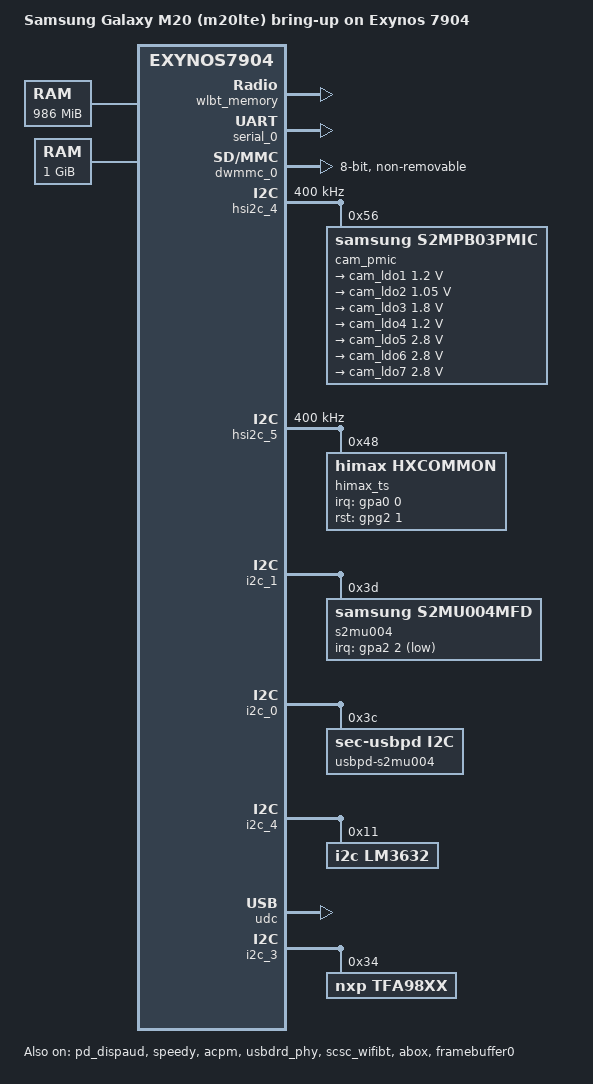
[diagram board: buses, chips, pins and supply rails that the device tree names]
// SPDX-License-Identifier: GPL-2.0
/*
 * Samsung Galaxy M20 (SM-M205F/FN, m20lte) minimal bring-up device tree.
 *
 * Experimental: console, GIC, timer and UART with vendor-derived clocks and
 * pinctrl. eMMC uses firmware CMU rates and vendor SDR timings; HS200/HS400
 * and hardware encryption are not enabled. CP interfaces are described but disabled by default.
 */

/dts-v1/;
#include "exynos7904.dtsi"
#include "battery_data_m20lte_common.dtsi"
#include "exynos7904-m20lte-modem.dtsi"

/ {
	model = "Samsung Galaxy M20 (m20lte) bring-up on Exynos 7904";
	/* Stock sboot strings first, then our own. */
	compatible = "samsung, M20 SWA OPEN rev03", "samsung,Universal7904", "samsung,m20lte", "samsung,exynos7904";

	/*
	 * Samsung dtbhtool reads these root properties to pick the right DTB.
	 * Values copied from the 4.4 M20 board DTS (SWA OPEN rev03).
	 */
	model_info-chip = <7885>;
	model_info-platform = "android";
	model_info-subtype = "samsung";
	model_info-hw_rev = <4>;
	model_info-hw_rev_end = <255>;

	chosen {
		stdout-path = "serial0:115200n8";
		/*
		 * The stock DTB carries its bootargs in chosen (it ships no boot.img cmdline),
		 * so keep the same arguments here in case the bootloader does not inject
		 * the boot.img cmdline into the DTB.
		 */
		/*
		 * Same placeholder as the stock DTB. The stock ramdisk is 1.46 MB, larger than
		 * this 1 MB window, so sboot must rewrite these at boot. Verify on device.
		 */
		linux,initrd-start = <0x84000000>;
		linux,initrd-end = <0x840fffff>;
		bootargs = "console=tty0 console=ttySAC0,115200 earlycon=exynos4210,0x13800000 clk_ignore_unused regulator_ignore_unused androidboot.hardware=samsungexynos7885 androidboot.selinux=permissive panic=5";
	};

	/*
	 * RAM layout copied from the 4.4 m20lte DTS (exynos7904-m20lte_common.dtsi).
	 * Verify against the bootloader before trusting it.
	 */
	memory@80000000 {
		device_type = "memory";
		reg = <0x0 0x80000000 0x0 0x3da00000>;
	};

	memory@c0000000 {
		device_type = "memory";
		reg = <0x0 0xc0000000 0x0 0x40000000>;
	};

	reserved-memory {
		#address-cells = <2>;
		#size-cells = <2>;
		ranges;

		wlbt_memory: wifi@e9000000 {
			compatible = "exynos,wifibt_if";
			reg = <0 0xe9000000 0 0x400000>;
			no-map;
		};

		/* Dynamically allocated, as in exynos7885-rmem.dtsi. */
		btabox_memory: btabox {
			compatible = "exynos,btabox_rmem";
			size = <0 0x400000>;
			alignment = <0 0x400000>;
			alloc-ranges = <0 0x80000000 0 0x80000000>;
			no-map;
		};

		/*
		 * Display handover buffer used by the 4.4 DPU driver (exynos,dpu_fb_handover).
		 * Kept no-map so the kernel never reuses the splash image.
		 */
		fb_handover: framebuffer@ec000000 {
			reg = <0x0 0xec000000 0x0 0x1400000>;
			no-map;
		};

		/*
		 * exynos-snapshot (ESS) area, from the 4.4 tree (drivers/trace/exynos-ss.c).
		 * Base 0x86000000 comes from the 4.4 bootarg ess_setup=0x86000000.
		 * Items are laid out in table order (MINIMIZED_MODE + SMALL_DEBUG_MODE):
		 *   log_kevents header 2 MB at 0x86000000 (kevents 1 MB, header alloc 2 MB)
		 *   log_kernel 2 MB at 0x86200000
		 *   log_pstore 32 KB at 0x86400000
		 * Keep the log area no-map so nothing else writes into it.
		 */
		ess_log: ess-log@86000000 {
			reg = <0x0 0x86000000 0x0 0x400000>;
			no-map;
		};

		ess_pstore: ess-pstore@86400000 {
			reg = <0x0 0x86400000 0x0 0x8000>;
			no-map;
		};
	};

	/* pstore: panics and oopses land in ess_pstore; readable from /sys/fs/pstore. */
	ramoops {
		compatible = "ramoops";
		memory-region = <&ess_pstore>;
		record-size = <0x4000>;
		console-size = <0x2000>;
		pmsg-size = <0x2000>;
		ftrace-size = <0>;
		dump-oops;
	};

	/* Bootloader-provided framebuffer: panel 1080x2340, 32 bpp, single buffer. */
	framebuffer0: framebuffer@ec000000 {
		compatible = "simple-framebuffer";
		reg = <0x0 0xec000000 0x0 0x1400000>;
		width = <1080>;
		height = <2340>;
		stride = <4320>;
		format = "a8b8g8r8";
		status = "okay";
	};
};

/* The complete DISPAUD provider retains the splash without any consumers. */
&pd_dispaud {
	status = "okay";
};

&serial_0 {
	status = "okay";
};

&dwmmc_0 {
	status = "okay";
	bus-width = <8>;
	non-removable;
	cap-mmc-highspeed;
	/* 4.4 ciu_clkin[MMC_TIMING_MMC_HS] = 50 MHz. */
	max-frequency = <50000000>;
	fifo-depth = <0x40>;
	card-detect-delay = <200>;
	samsung,dw-mshc-ciu-div = <3>;
	/* Vendor order: divider, fine drive, drive, sample (not upstream's 2). */
	samsung,dw-mshc-sdr-timing = <3 0 4 0>;
	samsung,dw-mshc-ddr-timing = <3 0 4 2>;

	/*
	 * 4.4 also advertises HS200/HS400/ES. Deliberately keep those and DDR
	 * off until rate changes, fine tuning and delay-line setup are ported.
	 */
	pinctrl-names = "default";
	pinctrl-0 = <&sd0_clk &sd0_cmd &sd0_rdqs &sd0_bus8>;
};

/*
 * The PMIC is on SPEEDY, not HSI2C. Keep disabled until SPEEDY/ACPM,
 * GATE_SPEEDY_APM and ALIVE pinctrl/IRQ support are available. Vendor
 * code uses gpa2-0 as a level-low IRQ via s2mpu08,irq-gpio; the legacy
 * interrupts = <2 0 0> property is not the IRQ used by that driver.
 * Do not invent a GIC IRQ or use an unrelated GPIO bank in its place.
 */
&speedy {
	s2mpu08: pmic@0 {
		compatible = "samsung,s2mpu08-pmic", "samsung,s2mpu08mfd";
		reg = <0x00>;
		i2c-speedy-address;
		acpm-ipc-channel = <2>;
		s2mpu08,irq-gpio = <&gpa2 0 0>;
		wakeup-source;
		/* RTC WTSR/SMPL: 4.4 exynos7904-m20lte_common.dtsi lines 183-187 */
		wtsr_en = "enabled";
		smpl_en = "enabled";
		wtsr_timer_val = <3>;
		smpl_timer_val = <0>;
		check_jigon = <0>;
		status = "okay";

		regulators {
			b1_reg: BUCK1 {
				regulator-name = "vdd_mif";
				regulator-min-microvolt = <500000>;
				regulator-max-microvolt = <1100000>;
				regulator-always-on;
				regulator-ramp-delay = <12000>;
				regulator-initial-mode = <2>;
			};

			b2_reg: BUCK2 {
				regulator-name = "vdd_cpucl0";
				regulator-min-microvolt = <500000>;
				regulator-max-microvolt = <1300000>;
				regulator-always-on;
				regulator-ramp-delay = <12000>;
				regulator-initial-mode = <1>;
			};

			b3_reg: BUCK3 {
				regulator-name = "vdd_cpucl1_2";
				regulator-min-microvolt = <500000>;
				regulator-max-microvolt = <1300000>;
				regulator-always-on;
				regulator-ramp-delay = <12000>;
				regulator-initial-mode = <1>;
			};

			b4_reg: BUCK4 {
				regulator-name = "vdd_int";
				regulator-min-microvolt = <500000>;
				regulator-max-microvolt = <1200000>;
				regulator-always-on;
				regulator-ramp-delay = <12000>;
				regulator-initial-mode = <2>;
			};

			b5_reg: BUCK5 {
				regulator-name = "vdd_g3d";
				regulator-min-microvolt = <500000>;
				regulator-max-microvolt = <1300000>;
				regulator-always-on;
				regulator-ramp-delay = <12000>;
				regulator-initial-mode = <1>;
			};

			b6_reg: BUCK6 {
				regulator-name = "vdd2_mem";
				regulator-min-microvolt = <500000>;
				regulator-max-microvolt = <1300000>;
				regulator-always-on;
				regulator-ramp-delay = <12000>;
				regulator-initial-mode = <3>;
			};

			b7_reg: BUCK7 {
				regulator-name = "vdd_lldo";
				regulator-min-microvolt = <1200000>;
				regulator-max-microvolt = <1500000>;
				regulator-always-on;
				regulator-boot-on;
				regulator-ramp-delay = <12000>;
				regulator-initial-mode = <3>;
			};

			b8_reg: BUCK8 {
				regulator-name = "vdd_mldo";
				regulator-min-microvolt = <1800000>;
				regulator-max-microvolt = <2100000>;
				regulator-always-on;
				regulator-ramp-delay = <12000>;
				regulator-initial-mode = <3>;
			};

			l1_reg: LDO1 {
				regulator-name = "vdd_ldo1";
				regulator-min-microvolt = <700000>;
				regulator-max-microvolt = <1300000>;
				regulator-always-on;
				regulator-ramp-delay = <12000>;
				regulator-initial-mode = <3>;
			};

			l2_reg: LDO2 {
				regulator-name = "vqmmc";
				regulator-min-microvolt = <1800000>;
				regulator-max-microvolt = <3375000>;
				regulator-ramp-delay = <12000>;
			};

			l3_reg: LDO3 {
				regulator-name = "vdd_ldo3";
				regulator-min-microvolt = <800000>;
				regulator-max-microvolt = <1950000>;
				regulator-always-on;
				regulator-ramp-delay = <12000>;
				regulator-initial-mode = <3>;
			};

			l4_reg: LDO4 {
				regulator-name = "vdd_ldo4";
				regulator-min-microvolt = <500000>;
				regulator-max-microvolt = <1300000>;
				regulator-always-on;
				regulator-ramp-delay = <12000>;
				regulator-initial-mode = <1>;
			};

			l5_reg: LDO5 {
				regulator-name = "vdd_ldo5";
				regulator-min-microvolt = <800000>;
				regulator-max-microvolt = <1350000>;
				regulator-always-on;
				regulator-ramp-delay = <12000>;
				regulator-initial-mode = <1>;
			};

			l6_reg: LDO6 {
				regulator-name = "vdd_ldo6";
				regulator-min-microvolt = <800000>;
				regulator-max-microvolt = <1350000>;
				regulator-always-on;
				regulator-ramp-delay = <12000>;
				regulator-initial-mode = <1>;
			};

			l7_reg: LDO7 {
				regulator-name = "vdd_ldo7";
				regulator-min-microvolt = <800000>;
				regulator-max-microvolt = <1950000>;
				regulator-always-on;
				regulator-ramp-delay = <12000>;
				regulator-initial-mode = <1>;
			};

			l8_reg: LDO8 {
				regulator-name = "vdd_ldo8";
				regulator-min-microvolt = <500000>;
				regulator-max-microvolt = <1300000>;
				regulator-always-on;
				regulator-ramp-delay = <12000>;
				regulator-initial-mode = <1>;
			};

			l9_reg: LDO9 {
				regulator-name = "vdd_ldo9";
				regulator-min-microvolt = <500000>;
				regulator-max-microvolt = <1300000>;
				regulator-always-on;
				regulator-ramp-delay = <12000>;
				regulator-initial-mode = <1>;
			};

			l10_reg: LDO10 {
				regulator-name = "vdd_ldo10";
				regulator-min-microvolt = <500000>;
				regulator-max-microvolt = <1300000>;
				regulator-always-on;
				regulator-ramp-delay = <12000>;
				regulator-initial-mode = <1>;
			};

			l11_reg: LDO11 {
				regulator-name = "vdd_ldo11";
				regulator-min-microvolt = <500000>;
				regulator-max-microvolt = <1300000>;
				regulator-always-on;
				regulator-ramp-delay = <12000>;
				regulator-initial-mode = <1>;
			};

			l12_reg: LDO12 {
				regulator-name = "vdd_ldo12";
				regulator-min-microvolt = <800000>;
				regulator-max-microvolt = <1350000>;
				regulator-always-on;
				regulator-ramp-delay = <12000>;
				regulator-initial-mode = <1>;
			};

			l13_reg: LDO13 {
				regulator-name = "vdd_ldo13";
				regulator-min-microvolt = <800000>;
				regulator-max-microvolt = <1950000>;
				regulator-always-on;
				regulator-ramp-delay = <12000>;
				regulator-initial-mode = <1>;
			};

			l14_reg: LDO14 {
				regulator-name = "vdd_ldo14";
				regulator-min-microvolt = <1800000>;
				regulator-max-microvolt = <3375000>;
				regulator-always-on;
				regulator-ramp-delay = <12000>;
				regulator-initial-mode = <1>;
			};

			l33_reg: LDO33 {
				regulator-name = "vdd_ldo33";
				regulator-min-microvolt = <800000>;
				regulator-max-microvolt = <1950000>;
				regulator-always-on;
				regulator-ramp-delay = <12000>;
				regulator-initial-mode = <3>;
			};

			l34_reg: LDO34 {
				regulator-name = "vdd_ldo34";
				regulator-min-microvolt = <1800000>;
				regulator-max-microvolt = <3375000>;
				regulator-always-on;
				regulator-ramp-delay = <12000>;
				regulator-initial-mode = <3>;
			};

			l35_reg: LDO35 {
				regulator-name = "vmmc";
				regulator-min-microvolt = <1800000>;
				regulator-max-microvolt = <3000000>;
				regulator-ramp-delay = <12000>;
			};

			l36_reg: LDO36 {
				regulator-name = "vdd_ldo36";
				regulator-min-microvolt = <800000>;
				regulator-max-microvolt = <1950000>;
				regulator-always-on;
				regulator-ramp-delay = <12000>;
				regulator-initial-mode = <3>;
			};

			l37_reg: LDO37 {
				regulator-name = "vdd_ldo37";
				regulator-min-microvolt = <1800000>;
				regulator-max-microvolt = <3375000>;
				regulator-always-on;
				regulator-ramp-delay = <12000>;
				regulator-initial-mode = <3>;
			};
		};
	};
};

/* Camera rails: 4.4 exynos7904-m20lte_common.dtsi lines 714-769. */
&hsi2c_4 {
	status = "okay";
	/* 4.4 i2c-exynos5.c:212,1623-1625 defaults to 400 kHz, not 100 kHz. */
	clock-frequency = <400000>;

	cam_pmic: pmic@56 {
		compatible = "samsung,s2mpb03pmic";
		reg = <0x56>;
		disable_ldo2_remote_sense;
		slew2,dram_dsch2 = /bits/ 8 <1>;
		slew2,l5_slew = /bits/ 8 <0>;
		slew2,l6_slew = /bits/ 8 <0>;

		/* No always-on or boot-on flags in the board source or stock DTB. */
		regulators {
			cam_ldo1: s2mpb03-ldo1 {
				regulator-name = "VDDDF_1.2V_CAM";
				regulator-min-microvolt = <1200000>;
				regulator-max-microvolt = <1200000>;
			};

			cam_ldo2: s2mpb03-ldo2 {
				regulator-name = "VDDDR1_1.05V_CAM";
				regulator-min-microvolt = <1050000>;
				regulator-max-microvolt = <1050000>;
			};

			cam_ldo3: s2mpb03-ldo3 {
				regulator-name = "VDDIOR1_1.8V_CAM";
				regulator-min-microvolt = <1800000>;
				regulator-max-microvolt = <1800000>;
			};

			cam_ldo4: s2mpb03-ldo4 {
				regulator-name = "VDDDR2_1.2V_CAM";
				regulator-min-microvolt = <1200000>;
				regulator-max-microvolt = <1200000>;
			};

			cam_ldo5: s2mpb03-ldo5 {
				regulator-name = "VDDAF_2.8V_CAM";
				regulator-min-microvolt = <2800000>;
				regulator-max-microvolt = <2800000>;
			};

			cam_ldo6: s2mpb03-ldo6 {
				regulator-name = "VDDAR1_2.8V_CAM";
				regulator-min-microvolt = <2800000>;
				regulator-max-microvolt = <2800000>;
			};

			cam_ldo7: s2mpb03-ldo7 {
				regulator-name = "VDDAR2_2.8V_CAM";
				regulator-min-microvolt = <2800000>;
				regulator-max-microvolt = <2800000>;
			};
		};
	};
};

/* Touch: Himax HX83112A on HS-I2C 5 (4.4 common.dtsi 771-800, rev03 overlay). */
&hsi2c_5 {
	status = "okay";
	clock-frequency = <400000>;

	himax_ts: touchscreen@48 {
		compatible = "himax,hxcommon";
		reg = <0x48>;
		status = "okay";
		pinctrl-names = "default";
		pinctrl-0 = <&attn_irq>;
		himax,irq-gpio = <&gpa0 0 0>;
		himax,rst-gpio = <&gpg2 1 0>;
		himax,panel-coords = <0 1080 0 2340>;
		himax,display-coords = <0 1080 0 2340>;
		himax,project_name = "M20", "M205F";
		himax,area-size = <80 126 60>;
		himax,fw-path = "tsp_himax/hx83112a_m20lte.fw";
		report_type = <1>;
		himax,factory_item_version = <1>;
	};
};

/* APM firmware IPC and the SPEEDY bus that the S2MPU08 PMIC hangs off. */
&acpm_ipc {
	status = "okay";
};

&acpm {
	status = "okay";
};

&speedy {
	status = "okay";
};

/* 4.4 exynos7904-m20lte_common.dtsi:955-966. */
&i2c_1 {
	status = "okay";
	s2mu004@3D {
		status = "okay";
		compatible = "samsung,s2mu004mfd";
		reg = <0x3D>;
		pinctrl-names = "default";
		pinctrl-0 = <&if_pmic_irq>;
		s2mu004,irq-gpio = <&gpa2 2 1>;
		s2mu004,wakeup;
	};
};

/*
 * USB-C port controller and cable detection: stock DTB nodes usbpd-s2mu004@3C
 * (I2C0), muic, pdic-manager and usb_notifier (4.4 exynos7904-m20lte_common.dtsi,
 * battery_data_m20lte_swa_open_04.dtsi:22-51). The MUIC itself is a cell of the
 * S2MU004 MFD above.
 */
/ {
	pinctrl@11CB0000 {
		usbpd_irq: usbpd-irq {
			samsung,pins = "gpa2-3";
			samsung,pin-function = <0xf>;
			samsung,pin-pud = <0>;
			samsung,pin-drv = <0>;
		};
	};

	muic {
		new_factory;
		dcd_timeout;
	};

	pdic-manager {
		pdic,max_power = <5000>;
		pdic,op_power = <2500>;
		pdic,max_voltage = <6000>;
		pdic,max_current = <2000>;
		pdic,min_current = <500>;
		pdic,giveback = <0>;
		pdic,usb_com_capable = <1>;
		pdic,no_usb_suspend = <1>;
		source,max_voltage = <5000>;
		source,min_voltage = <4000>;
		source,max_power = <2500>;
		sink,capable_max_voltage = <9000>;
	};

	usb_notifier {
		compatible = "samsung,usb-notifier";
		udc = <&udc>;
	};
};

&i2c_0 {
	usbpd-s2mu004@3c {
		compatible = "sec-usbpd,i2c";
		reg = <0x3c>;
		pinctrl-names = "default";
		pinctrl-0 = <&usbpd_irq>;
		usbpd,usbpd_int = <&gpa2 3 0>;
	};
};

/*
 * Panel and board data for the display, 4.4 display-lcd_m20_common.dtsi.
 * Only used when the DECON/DSIM/DPP nodes are enabled (see
 * exynos7904-m20lte-decon.dts); the nodes themselves are inert otherwise.
 */
/ {
	decon_board_hx83112a: decon_board_hx83112a {
		gpio_lcd_1p8 = <&gpg1 2 0>;
		gpio_blic_on = <&gpg1 0 0>;
		gpio_panel_enp = <&gpg2 3 0>;
		gpio_panel_enn = <&gpg2 6 0>;
		gpio_lcd_rst = <&gpg2 0 0>;
		gpio_tsp_rst = <&gpg2 1 0>;

		dsim_set_panel_power_early {
			type =
			"gpio,high",	"gpio_lcd_1p8",
			"delay,usleep",	"5000",
			"gpio,high",	"gpio_blic_on",
			"delay,usleep",	"5000";
		};
		dsim_set_panel_power_enable {
			type =
			"delay,usleep",	"1000",
			"gpio,high",	"gpio_panel_enp",
			"delay,usleep",	"2000",
			"gpio,high",	"gpio_panel_enn",
			"delay,usleep",	"5000";
		};
		dsim_set_panel_power_disable {
			type =
			"gpio,low",	"gpio_tsp_rst",
			"gpio,low",	"gpio_lcd_rst",
			"delay,usleep",	"5000",
			"gpio,low",	"gpio_panel_enn",
			"delay,usleep",	"5000",
			"gpio,low",	"gpio_panel_enp",
			"delay,usleep",	"5000",
			"gpio,low",	"gpio_blic_on",
			"delay,usleep",	"5000",
			"gpio,low",	"gpio_lcd_1p8";
		};
		dsim_reset_panel {
			type =
			"gpio,high",	"gpio_tsp_rst",
			"gpio,high",	"gpio_lcd_rst",
			"delay,usleep",	"1000",
			"gpio,low",	"gpio_lcd_rst",
			"delay,usleep",	"1000",
			"gpio,high",	"gpio_lcd_rst",
			"delay,msleep",	"30";
		};
	};

	hx83112a: hx83112a {
		mode = <0>; /* 0: video mode, 1: DP command mode, 2: MIPI command mode */
		resolution = <1080 2340>;
		size = <67 145>;
		timing,refresh = <60>;
		/* dsim H porch : HBP, HFP, HSA */
		timing,h-porch = <8 28 8>;
		/* dsim V porch : VBP, VFP, VSA */
		timing,v-porch = <5 27 5>;
		timing,dsi-hs-clk = <1100>;
		timing,pms = <3 127 0>;
		timing,dsi-escape-clk = <16>;
		mic_en = <0>;		/* 0: Disable, 1: Enable */
		mic_ratio = <0>;	/* 0: 1/2 mic, 1: 1/3 mic */
		mic_ver = <0>;		/* 0: mic v1.1, 1: v1.2, 2: v2.0 */
		type_of_ddi = <0>;	/* 0: Samsung Mobile, 1: MAGNA, 2: Normal(Etc) */
		dsc_en = <0>;		/* 0: Disable, 1: Enable */
		dsc_cnt = <0>;		/* used DSC count */
		dsc_slice_num = <0>;	/* count of dsc slice */
		data_lane = <4>;	/* number of using data lane */
		vt_compensation = <804>;	/* difference between wordclk and vclk at video mode */
		eotp_disabled = <1>;	/* 0:EOTP Enable, 1: EOTP Disable */
		decon_board = <&decon_board_hx83112a>;
	};
};

&dsim_0 {
	lcd_info = <&hx83112a>;
};

&decon_f {
	psr_mode = <0>;		/* 0: video mode, 1: DP command mode, 2: MIPI command mode */
	trig_mode = <1>;	/* 0: hw trigger, 1: sw trigger */
	dsi_mode = <0>;		/* 0: single dsi, 1: dual dsi */
};

/* Backlight IC (LM3632 @0x11), 4.4 display-lcd_m20_common.dtsi. */
&i2c_4 {
	samsung,i2c-max-bus-freq = <400000>;
	#address-cells = <1>;
	#size-cells = <0>;

	lm3632@11 {
		compatible = "i2c,lm3632";
		reg = <0x11>;
	};
};

/*
 * USB: 4.4 exynos7904-m20lte_common.dtsi:807-885. dr_mode "otg" as on stock: the
 * Samsung dwc3 OTG state machine is replaced by an extcon device in the glue
 * (dwc3-exynos.c) that the USB notifier drives from the MUIC/CCIC events.
 * Until the first event arrives dwc3 stays in device mode.
 */
&udc {
	status = "okay";

	dwc3 {
		dr_mode = "otg";
		extcon = <&udc>;
		maximum-speed = "high-speed";
		snps,quirk-frame-length-adjustment = <0x20>;
	};
};

&usbdrd_phy {
	status = "okay";
	hs_tune_param = <&usb_hs_tune>;
};

/ {
	usb_hs_tune: hs_tune {
		hs_tune_cnt = <12>;

		/* value = <device host> */
		hs_tune1 {
			tune_name = "tx_vref";
			tune_value = <0xd 0xa>;
		};

		hs_tune2 {
			tune_name = "tx_pre_emp";
			tune_value = <0x3 0x3>;
		};

		hs_tune3 {
			tune_name = "tx_pre_emp_plus";
			tune_value = <0x0 0x0>;
		};

		hs_tune4 {
			tune_name = "tx_res";
			tune_value = <0x3 0x3>;
		};

		hs_tune5 {
			tune_name = "tx_rise";
			tune_value = <0x3 0x3>;
		};

		hs_tune6 {
			tune_name = "tx_hsxv";
			tune_value = <0x3 0x3>;
		};

		hs_tune7 {
			tune_name = "tx_fsls";
			tune_value = <0x3 0x3>;
		};

		hs_tune8 {
			tune_name = "rx_sqrx";
			tune_value = <0x7 0x7>;
		};

		hs_tune9 {
			tune_name = "compdis";
			tune_value = <0x7 0x7>;
		};

		hs_tune10 {
			tune_name = "otg";
			tune_value = <0x2 0x2>;
		};

		hs_tune11 {
			/* <enable_user_imp user_imp_value> */
			tune_name = "enable_user_imp";
			tune_value = <0x0 0x0>;
		};

		hs_tune12 {
			/* PHY clk : 1, FREE clk : 0 */
			tune_name = "is_phyclock";
			tune_value = <0x1 0x1>;
		};
	};
};

&scsc_wifibt {
	status = "okay";
};
/* M20 COD3035X + TFA9896 topology, preserving the vendor HAL DAI order. */
/ {
	but_zones: but-zones {
		#list-but-cells = <3>;
	};

	dummy_audio_codec: audio-codec-dummy {
		compatible = "snd-soc-dummy";
		#sound-dai-cells = <0>;
	};

	reserved-memory {
		abox_rmem: abox-debug@e9400000 {
			compatible = "exynos,abox_rmem";
			reg = <0x0 0xe9400000 0x0 0x400000>;
		};
	};

	sound {
		status = "okay";
		compatible = "samsung,exynos7885-cod3035";
		mic-bias-mode = <1 1 2 0>;

		samsung,codec = <&abox>;

		samsung,routing =  "VOUTPUT", "ABOX UAIF0 Playback",
				 "VOUTPUTCALL", "ABOX UAIF2 Playback",
				 "ABOX UAIF2 Capture", "VINPUTCALL",
				 "ABOX SPEEDY Capture", "VINPUTFM",
				 // "SPK", "ABOX UAIF3 Playback",
				 // "ABOX UAIF3 Capture", "VI";
				 "SPK", "AIF Playback-b-34",
				 "AIF Playback-b-34", "ABOX UAIF3 Playback",
				 "ABOX UAIF3 Capture", "AIF Capture-b-34";

		rdma-0 {
			cpu {
				sound-dai = <&abox 0>;
			};
			codec {
				sound-dai = <&dummy_audio_codec>;
			};
		};
		rdma-1 {
			cpu {
				sound-dai = <&abox 1>;
			};
			codec {
				sound-dai = <&dummy_audio_codec>;
			};
		};
		rdma-2 {
			cpu {
				sound-dai = <&abox 2>;
			};
			codec {
				sound-dai = <&dummy_audio_codec>;
			};
		};
		rdma-3 {
			cpu {
				sound-dai = <&abox 3>;
			};
			codec {
				sound-dai = <&dummy_audio_codec>;
			};
		};
		rdma-4 {
			cpu {
				sound-dai = <&abox 4>;
			};
			codec {
				sound-dai = <&dummy_audio_codec>;
			};
		};
		rdma-5 {
			cpu {
				sound-dai = <&abox 5>;
			};
			codec {
				sound-dai = <&dummy_audio_codec>;
			};
		};
		rdma-6 {
			cpu {
				sound-dai = <&abox 6>;
			};
			codec {
				sound-dai = <&dummy_audio_codec>;
			};
		};
		rdma-7 {
			cpu {
				sound-dai = <&abox 7>;
			};
			codec {
				sound-dai = <&dummy_audio_codec>;
			};
		};
		wdma-0 {
			cpu {
				sound-dai = <&abox 8>;
			};
			codec {
				sound-dai = <&dummy_audio_codec>;
			};
		};
		wdma-1 {
			cpu {
				sound-dai = <&abox 9>;
			};
			codec {
				sound-dai = <&dummy_audio_codec>;
			};
		};
		wdma-2 {
			cpu {
				sound-dai = <&abox 10>;
			};
			codec {
				sound-dai = <&dummy_audio_codec>;
			};
		};
		wdma-3 {
			cpu {
				sound-dai = <&abox 11>;
			};
			codec {
				sound-dai = <&dummy_audio_codec>;
			};
		};
		wdma-4 {
			cpu {
				sound-dai = <&abox 12>;
			};
			codec {
				sound-dai = <&dummy_audio_codec>;
			};
		};
		uaif-0 {
			cpu {
				sound-dai = <&abox 13>;
			};
			codec {
				sound-dai = <&audio_codec_cod3035x>;
			};
		};
		uaif-1 {
			cpu {
				sound-dai = <&abox 14>;
			};
			codec {
				sound-dai = <&dummy_audio_codec>;
			};
		};
		uaif-2 {
			cpu {
				sound-dai = <&abox 15>;
			};
			codec {
				sound-dai = <&dummy_audio_codec>;
			};
		};
		uaif-3 {
			cpu {
				sound-dai = <&abox 16>;
			};
			codec {
				sound-dai = <&tfa98xx 0>;
			};
		};
		internal-0 {
			cpu {
				sound-dai = <&abox 17>;
			};
			codec {
				sound-dai = <&dummy_audio_codec>;
			};
		};
		speedy-0 {
			cpu {
				sound-dai = <&abox 18>;
			};
			codec {
				sound-dai = <&dummy_audio_codec>;
			};
		};
	};
};

&sysmmu_abox {
	status = "okay";
};

&abox_gic {
	status = "okay";
};

&abox {
	status = "okay";
	samsung,abox-bootargs = "init=ab0x vss=1";
	samsung,abox-bootargs-offset = <0x22e00>;
};

&ext_bin_0 {
	status = "disabled";
};

/* M20 uses the FM pins as pulled-down inputs rather than the SoC default. */
&aud_fm_bus {
	samsung,pin-function = <0>;
};

&speedy {
	audio_codec_cod3035x: cod3035x@3 {
		compatible = "codec,cod3035x";
		reg = <0x03>;
		i2c-speedy-address;
		vdd-supply = <&l36_reg>;
		vdd_ldo36-supply = <&l36_reg>;
		vdd_ldo37-supply = <&l37_reg>;
		interrupts-extended = <&gpa2 0 IRQ_TYPE_LEVEL_LOW>;
		pinctrl-names = "default";
		mic-bias1-voltage = <1>;
		mic-bias2-voltage = <1>;
		mic-bias-ldo-voltage = <3>;
		use-lassenA;
		use-btn-adc-mode;
		use-feature-flag = <0x02>;
		use-det-gdet-adc-mode = <1>;
		jack-imp-tuning = <7>;
		io-channels = <&exynos_adc 3>,<&exynos_adc 7>;
		io-channel-names = "adc-ear","adc-gdet";
		#sound-dai-cells = <0>;
		io-channel-ranges;
		but-zones-list = <&but_zones 226 0 376>,
				 <&but_zones 582 377 447>,
				 <&but_zones 115 448 627>,
				 <&but_zones 114 628 1161>;
		mic-adc-range = <1404>;
		btn-release-value = <1404>;
		};
};

&s2mpu08 {
	samsung,codec-interrupt = <&audio_codec_cod3035x>;
};

&i2c_3 {
	status = "okay";
	samsung,i2c-max-bus-freq = <400000>;
	tfa98xx: tfa98xx@34 {
		compatible = "nxp,tfa98xx";
		reg = <0x34>;
		#sound-dai-cells = <1>;
	};
};
